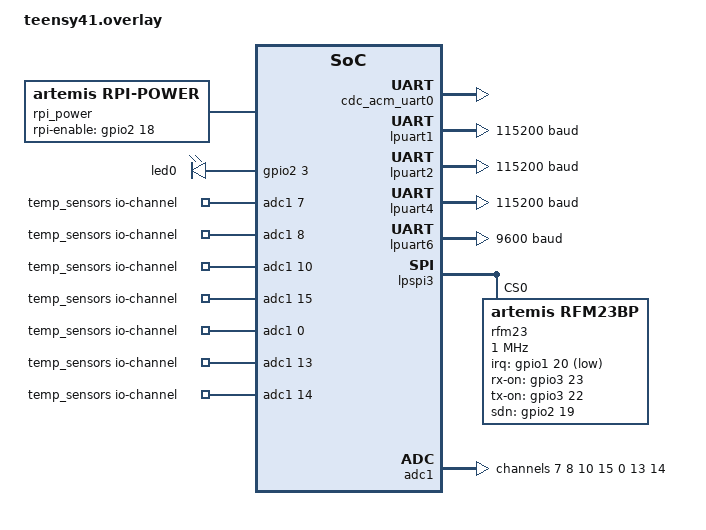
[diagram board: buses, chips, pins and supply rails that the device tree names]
&zephyr_udc0 {
    cdc_acm_uart0: cdc_acm_uart0 {
        compatible = "zephyr,cdc-acm-uart";
    };
};

&lpuart1 {
	status = "okay";
	current-speed = < 115200 >;
};

&lpuart2 {
	status = "okay";
	current-speed = < 115200 >;
};

/* Teensy TX=8, RX=7 - connected to RPi */
&lpuart4 {
    status = "okay";
    current-speed = <115200>;
};

/* Teensy TX=1, RX=0 - connected to PDU */
&lpuart6 {
    status = "okay";
    current-speed = <9600>; /* PDU Serial1, Teensy pins 0/1 */
};

/* Radio SPI1 (RFM23BP). CS=38, INT=40, RX_ON=30, TX_ON=31. */
&lpspi3 {
    status = "okay";

    rfm23: rfm23@0 {
        compatible = "artemis,rfm23bp";
        reg = <0>;
        spi-max-frequency = <1000000>;
        irq-gpios = <&gpio1 20 GPIO_ACTIVE_LOW>; /* pin 40 */
        rx-on-gpios = <&gpio3 23 GPIO_ACTIVE_HIGH>; /* pin 30 */
        tx-on-gpios = <&gpio3 22 GPIO_ACTIVE_HIGH>; /* pin 31 */
        sdn-gpios = <&gpio2 19 GPIO_ACTIVE_HIGH>; /* pin 37 */
    };
};

/* 7x TMP36 analog temperature sensors: pins 14, 15, 41, 20, 21, 22, 23  */
&pinctrl {
    pinmux_adc1: pinmux_adc1 {
        group0 {
            pinmux = <&iomuxc_gpio_ad_b1_02_adc1_in7>,
                     <&iomuxc_gpio_ad_b1_03_adc1_in8>,
                     <&iomuxc_gpio_ad_b1_05_adc1_in10>,
                     <&iomuxc_gpio_ad_b1_10_adc1_in15>,
                     <&iomuxc_gpio_ad_b1_11_adc1_in0>,
                     <&iomuxc_gpio_ad_b1_08_adc1_in13>,
                     <&iomuxc_gpio_ad_b1_09_adc1_in14>;
            bias-disable;
        };
    };
};

&adc1 {
    status = "okay";
    pinctrl-0 = <&pinmux_adc1>;
    pinctrl-names = "default";
    #address-cells = <1>;
    #size-cells = <0>;

    channel@7 {
        reg = <7>;
        zephyr,gain = "ADC_GAIN_1";
        zephyr,reference = "ADC_REF_INTERNAL";
        zephyr,acquisition-time = <ADC_ACQ_TIME_DEFAULT>;
        zephyr,resolution = <10>;
    };

    channel@8 {
        reg = <8>;
        zephyr,gain = "ADC_GAIN_1";
        zephyr,reference = "ADC_REF_INTERNAL";
        zephyr,acquisition-time = <ADC_ACQ_TIME_DEFAULT>;
        zephyr,resolution = <10>;
    };

    channel@10 {
        reg = <10>;
        zephyr,gain = "ADC_GAIN_1";
        zephyr,reference = "ADC_REF_INTERNAL";
        zephyr,acquisition-time = <ADC_ACQ_TIME_DEFAULT>;
        zephyr,resolution = <10>;
    };

    channel@15 {
        reg = <15>;
        zephyr,gain = "ADC_GAIN_1";
        zephyr,reference = "ADC_REF_INTERNAL";
        zephyr,acquisition-time = <ADC_ACQ_TIME_DEFAULT>;
        zephyr,resolution = <10>;
    };

    channel@0 {
        reg = <0>;
        zephyr,gain = "ADC_GAIN_1";
        zephyr,reference = "ADC_REF_INTERNAL";
        zephyr,acquisition-time = <ADC_ACQ_TIME_DEFAULT>;
        zephyr,resolution = <10>;
    };

    channel@13 {
        reg = <13>;
        zephyr,gain = "ADC_GAIN_1";
        zephyr,reference = "ADC_REF_INTERNAL";
        zephyr,acquisition-time = <ADC_ACQ_TIME_DEFAULT>;
        zephyr,resolution = <10>;
    };

    channel@14 {
        reg = <14>;
        zephyr,gain = "ADC_GAIN_1";
        zephyr,reference = "ADC_REF_INTERNAL";
        zephyr,acquisition-time = <ADC_ACQ_TIME_DEFAULT>;
        zephyr,resolution = <10>;
    };
};

/* TODO: add solar panels I2C */

/ {
    chosen {
        zephyr,console = &cdc_acm_uart0;
        zephyr,sram = &ocram2;
    };

    rpi_power {
        compatible = "artemis,rpi-power";
        rpi-enable-gpios = <&gpio2 18 GPIO_ACTIVE_HIGH>; /* pin 36, RPi power enable */
    };

    leds {
        compatible = "gpio-leds";
        led0: led_0 {
            gpios = <&gpio2 3 GPIO_ACTIVE_HIGH>; /* pin 13, status LED */
        };
    };

    aliases {
        led0 = &led0;
    };

    /* Teensy pin order: 14, 15, 41, 20, 21, 22, 23 (matches temperatureSensorPins[]) */
    temp_sensors: zephyr,user {
        io-channels = <&adc1 7>, <&adc1 8>, <&adc1 10>, <&adc1 15>, <&adc1 0>, <&adc1 13>, <&adc1 14>;
    };
};
